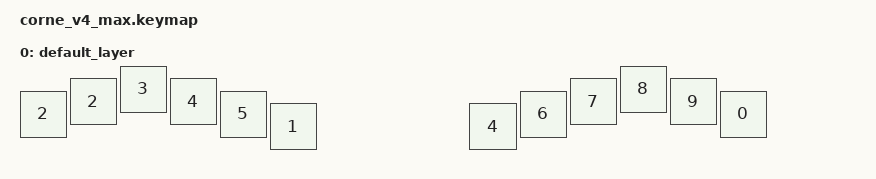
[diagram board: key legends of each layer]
#include <behaviors.dtsi>
#include <dt-bindings/zmk/keys.h>

#include <dt-bindings/zmk/keys.h>1z

#define DEFAULT 0

/ {
    keymap {
        compatible = "zmk,keymap";

        default_layer {
            bindings = <
         &kp N1  &kp N2  &kp N3  &kp N4  &kp N5          &kp N1                               &kp N4         &kp N6     &kp N7  &kp N8     &kp N9   &kp N0
&kp TAB  &kp Q   &kp W   &kp F   &kp P   &kp G           &kp N2                               &kp N5         &kp J      &kp L   &kp U      &kp Y    &kp SEMI       &kp APOS
&kp ESC  &kp A   &kp R   &kp S   &kp T   &kp D           &kp N3                               &kp N6         &kp H      &kp N   &kp E      &kp I    &kp O          &kp MINUS
&kp DEL  &kp Z   &kp X   &kp C   &kp V   &kp B                                                               &kp K      &kp M   &kp COMMA  &kp DOT  &kp BACKSLASH  &kp PLUS
                                                         &kp N7        &kp N8       &kp N9    &kp BACKSPACE
                                 &kp N1  &kp LEFT_SHIFT  &kp LEFT_WIN  &kp LCTRL    &kp RALT  &kp ENTER      &kp SPACE  &kp N2
            >;
        };
    };
};
